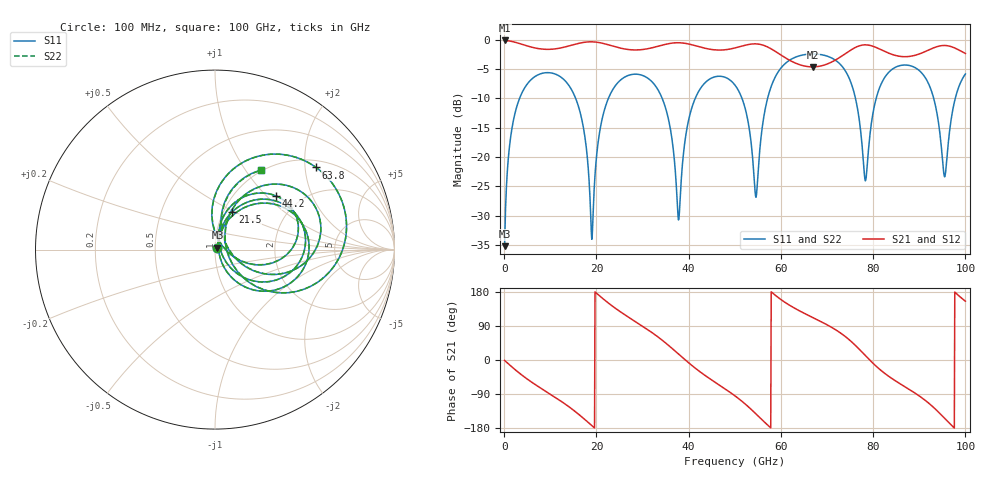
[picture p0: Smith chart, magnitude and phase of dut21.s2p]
! Touchstone file exported from HFSS 2026.1.0
!  File:  C:/ffzhzh/LocalFiles/Ansys_Project_Files/temp_train_TSV_RDL_21_1783439117_50928.aedt
!  Generated:  11:57:02 PM Jul  7, 2026
!  Design:  TSV_RDL
!  Project:  temp_train_TSV_RDL_21_1783439117_50928
! Variables:
!  h_bsmrdl = 4.35um
!  h_ox = 20um
!  h_rdl = 5um
!  h_sub = 71.63um
!  h_tmrdl = 4.27um
!  h_tsv = 71.63um
!  h_via = 3um
!  l_bsmrdl = 635.27um
!  l_sub = 3065.11um
!  l_tmrdl = 161.28um
!  m_sub = 200um
!  pitch = 51.78um
!  r_tsv = 6.22um
!  s_tmrdl = 10um
!  w_bsmrdl = 27.09um
!  w_sub = 500um
!  w_tmrdl = 10.97um
!  x_tsv_center1 = 166.765um
!  x_tsv_center2 = 829.125um
!  x_tsv_center3 = 1001.375um
!  x_tsv_center4 = 1663.735um
!  x_tsv_center5 = 1835.985um
!  x_tsv_center6 = 2498.345um
# GHz S MA R 50.000000
! Terminal data exported
! Port[1] = TM_RDL1_1_T1
! Port[2] = TM_RDL5_1_T1
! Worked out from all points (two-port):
!   1000 points, 100 MHz to 100 GHz, reference 50 ohm
!   highest |S21| = -0.11 dB at 100 MHz (marker M1); lowest = -4.6 dB at 66.9 GHz (marker M2)
!   |S21| within 3 dB of the highest: start of sweep to 61.06 GHz; 72.54 GHz to end of sweep
!   lowest |S11| = -35.2 dB at 100 MHz (marker M3), VSWR 1.04, Z = 51.3 + j1.15 ohm
!   |S11| at or under -10 dB: 15.5 GHz to 22.6 GHz (7.098 GHz wide, 37.3 % of centre); 34.26 GHz to 41.42 GHz (7.16 GHz wide, 18.9 % of centre); 51.56 GHz to 57.12 GHz (5.551 GHz wide, 10.2 % of centre) (the widest 3 of 6)
!   |S22| runs from -35.2 to -2.4 dB; largest |S21 - S12| = 1.5e-12
!   S11 on the Smith chart (normalised r, x): 100 MHz: 1.03, +0.02; 21.5 GHz: 1.10, +0.49; 44.2 GHz: 1.51, +1.14; 63.8 GHz: 1.18, +2.29; 100 GHz: 0.99, +1.18
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0.1  0.01735 40.3  0.9869 -1.1  0.9869 -1.1  0.01735 40.3
! Gamma 0 0 0 0
! Port Impedance 50 0 50 0
1.7  0.1764 66.1  0.9675 -18.4  0.9675 -18.4  0.1764 66.0
4.9  0.414 37.8  0.8887 -49.4  0.8887 -49.4  0.4139 37.7
16.8  0.2124 -56.5  0.9436 -149.8  0.9436 -149.8  0.2124 -56.5
19  0.01985 0.7  0.9609 -173.0  0.9609 -173.0  0.01982 0.8
21.5  0.2325 65.3  0.9302 161.0  0.9302 161.0  0.2326 65.3
33.4  0.3717 -27.6  0.8815 60.4  0.8815 60.4  0.3718 -27.7
37.8  0.02904 10.7  0.9436 15.8  0.9436 15.8  0.02812 10.3
40.2  0.2239 73.0  0.9169 -9.4  0.9169 -9.4  0.2237 73.2
44.2  0.4519 41.5  0.8364 -46.2  0.8364 -46.2  0.4518 41.7
50.1  0.4077 -2.9  0.8531 -95.1  0.8531 -95.1  0.4077 -2.7
54.6  0.04533 37.4  0.923 -142.3  0.923 -142.3  0.04663 37.6
57.7  0.3796 84.3  0.8448 -178.0  0.8448 -178.0  0.3799 84.2
63.8  0.7258 39.1  0.618 131.2  0.618 131.2  0.7259 39.1
66.7  0.7567 22.5  0.5872 113.3  0.5872 113.3  0.7569 22.6
66.9  0.7569 21.4  0.5871 112.2  0.5871 112.2  0.757 21.5
74.7  0.4799 -29.9  0.7958 54.6  0.7958 54.6  0.4801 -29.8
78.3  0.06266 8.0  0.9054 11.9  0.9054 11.9  0.06417 8.1
83.4  0.5289 43.0  0.7682 -43.3  0.7682 -43.3  0.529 42.9
91.5  0.4613 -13.6  0.8006 -108.5  0.8006 -108.5  0.4616 -13.5
95.5  0.06769 25.2  0.8942 -153.9  0.8942 -153.9  0.06949 25.1
100  0.5109 60.0  0.7645 155.2  0.7645 155.2  0.511 59.7
